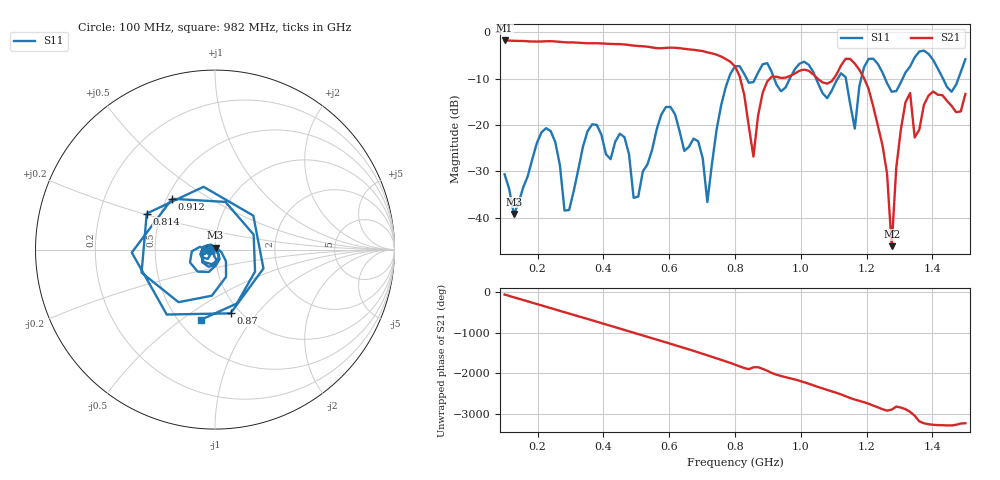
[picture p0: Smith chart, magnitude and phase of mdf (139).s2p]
! NanoVNA-App
! Date: 2025-09-26 09:40:49
! Start: 100MHz Stop: 1,5GHz Points: 101
! S-Parameter data: F S11 S21 S12 S22
# Hz S RI R 50
!  Frequency  S11_Real  S11_Imag  S21_Real  S21_Imag  S12_Real  S12_Imag  S22_Real  S22_Imag
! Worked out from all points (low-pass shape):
!   101 points, 100 MHz to 1.5 GHz, reference 50 ohm
!   highest |S21| = -1.79 dB at 100 MHz (marker M1); lowest = -46.1 dB at 1.276 GHz (marker M2)
!   |S21| within 3 dB of the highest: start of sweep to 740.8 MHz
!   lowest |S11| = -39.2 dB at 128 MHz (marker M3), VSWR 1.02, Z = 50.3 + j1.07 ohm
!   |S11| at or under -10 dB: start of sweep to 780.8 MHz; 1.046 GHz to 1.112 GHz (65.89 MHz wide, 6.11 % of centre); 1.256 GHz to 1.309 GHz (53.37 MHz wide, 4.16 % of centre) (the widest 3 of 7)
!   S12 and S22 are empty: the file has one direction only
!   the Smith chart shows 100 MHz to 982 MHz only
!   S11 on the Smith chart (normalised r, x): 100 MHz: 0.94, -0.01; 814 MHz: 0.42, +0.21; 870 MHz: 0.90, -0.74; 912 MHz: 0.53, +0.35; 982 MHz: 0.64, -0.59
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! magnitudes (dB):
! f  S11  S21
! 100 MHz  -30.6  -1.8
! 128 MHz  -39.2  -1.9
! 212 MHz  -21.6  -2.0
! 282 MHz  -38.4  -2.2
! 338 MHz  -24.7  -2.3
! 464 MHz  -22.6  -2.6
! 506 MHz  -35.4  -3.0
! 576 MHz  -17.8  -3.5
! 716 MHz  -36.6  -4.4
! 800 MHz  -7.4  -7.4
! 814 MHz  -7.3  -9.5
! 856 MHz  -10.8  -26.8
! 870 MHz  -8.7  -18.0
! 912 MHz  -8.6  -9.6
! 982 MHz  -8.0  -8.9
! 1.038 GHz  -8.6  -9.1
! 1.164 GHz  -20.8  -6.8
! 1.192 GHz  -7.6  -9.9
! 1.248 GHz  -8.7  -24.3
! 1.276 GHz  -12.8  -46.1
! 1.318 GHz  -8.7  -15.1
! 1.5 GHz  -5.8  -13.3
